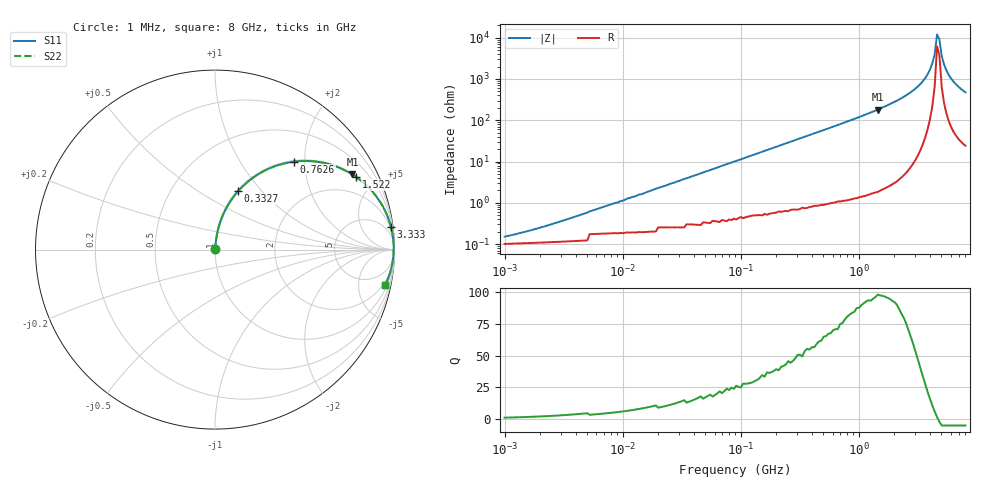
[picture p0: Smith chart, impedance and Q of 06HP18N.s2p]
# MHz S MA R 50
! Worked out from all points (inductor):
!   196 points, 1 MHz to 8 GHz, reference 50 ohm
!   read as one part in series: L = 18 nH near 3.165 MHz
!   highest Q = 97.3 at 1.454 GHz (marker M1), where L = 19.9 nH
!   self-resonance near 4.602 GHz
!   S11 on the Smith chart (normalised r, x): 1 MHz: 1.00, +0.00; 332.7 MHz: 1.02, +0.76; 762.6 MHz: 1.02, +1.77; 1.522 GHz: 1.04, +3.85; 3.333 GHz: 1, +15; 8 GHz: 1.46, -9.47
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1  0.001525 47.7  0.999 -0.1  0.999 -0.1  0.001525 47.7
4.576  0.005365 74.1  0.999 -0.3  0.999 -0.3  0.005365 74.1
20.943  0.024 83.0  0.997 -1.4  0.997 -1.4  0.024 83.0
91.528  0.103 81.8  0.991 -5.9  0.991 -5.9  0.103 81.8
332.657  0.351 68.3  0.929 -20.6  0.929 -20.6  0.351 68.3
418.867  0.428 63.7  0.896 -25.3  0.896 -25.3  0.428 63.7
762.574  0.659 48.0  0.744 -41.2  0.744 -41.2  0.659 48.0
1453.797  0.873 28.7  0.48 -60.7  0.48 -60.7  0.873 28.7
1522.368  0.884 27.3  0.459 -62.1  0.459 -62.1  0.884 27.3
1830.556  0.922 22.2  0.377 -67.2  0.377 -67.2  0.922 22.2
2527.516  0.968 13.9  0.24 -75.3  0.24 -75.3  0.968 13.9
3332.644  0.988 7.5  0.13 -81.1  0.13 -81.1  0.988 7.5
3826.806  0.993 4.4  0.077 -82.9  0.077 -82.9  0.993 4.4
4196.316  0.995 2.4  0.042 -82.3  0.042 -82.3  0.995 2.4
4394.242  0.996 1.4  0.025 -79.1  0.025 -79.1  0.996 1.4
4601.504  0.996 0.4  0.008348 -58.4  0.008348 -58.4  0.996 0.4
4818.542  0.995 -0.6  0.011 65.1  0.011 65.1  0.995 -0.6
5045.817  0.995 -1.6  0.028 78.3  0.028 78.3  0.995 -1.6
5283.812  0.994 -2.6  0.045 80.8  0.045 80.8  0.994 -2.6
5533.032  0.992 -3.6  0.062 81.3  0.062 81.3  0.992 -3.6
6353.467  0.986 -6.6  0.115 79.9  0.115 79.9  0.986 -6.6
8000  0.969 -11.8  0.204 75.3  0.204 75.3  0.969 -11.8
